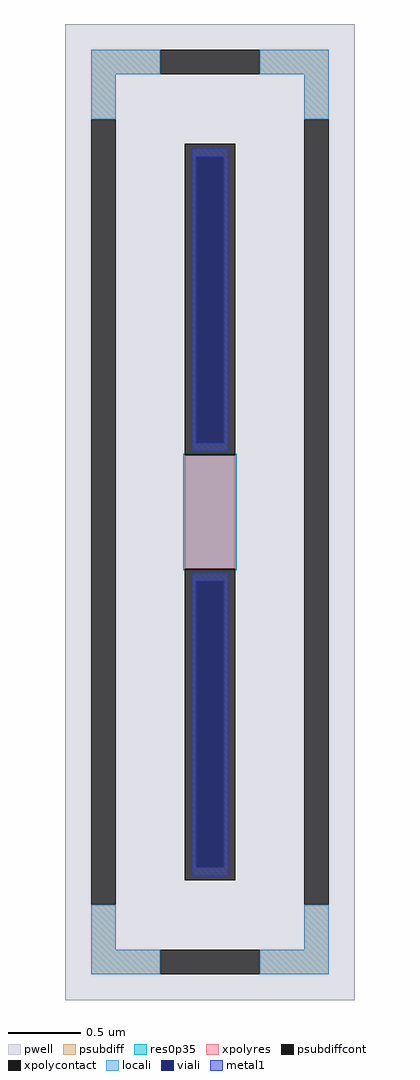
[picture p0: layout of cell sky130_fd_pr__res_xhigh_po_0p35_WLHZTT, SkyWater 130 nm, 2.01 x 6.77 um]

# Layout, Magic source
magic
tech sky130A
magscale 1 2
<< pwell >>
rect -201 -677 201 677
<< psubdiff >>
rect -165 607 -69 641
rect 69 607 165 641
rect -165 545 -131 607
rect 131 545 165 607
rect -165 -607 -131 -545
rect 131 -607 165 -545
rect -165 -641 -69 -607
rect 69 -641 165 -607
<< psubdiffcont >>
rect -69 607 69 641
rect -165 -545 -131 545
rect 131 -545 165 545
rect -69 -641 69 -607
<< xpolycontact >>
rect -35 79 35 511
rect -35 -511 35 -79
<< xpolyres >>
rect -35 -79 35 79
<< locali >>
rect -165 607 -69 641
rect 69 607 165 641
rect -165 545 -131 607
rect 131 545 165 607
rect -165 -607 -131 -545
rect 131 -607 165 -545
rect -165 -641 -69 -607
rect 69 -641 165 -607
<< viali >>
rect -19 96 19 493
rect -19 -493 19 -96
<< metal1 >>
rect -25 493 25 505
rect -25 96 -19 493
rect 19 96 25 493
rect -25 84 25 96
rect -25 -96 25 -84
rect -25 -493 -19 -96
rect 19 -493 25 -96
rect -25 -505 25 -493
<< res0p35 >>
rect -37 -81 37 81
<< properties >>
string gencell sky130_fd_pr__res_xhigh_po_0p35
string FIXED_BBOX -148 -624 148 624
string parameters w 0.350 l 0.79 m 1 nx 1 wmin 0.350 lmin 0.50 rho 2000 val 5.2k dummy 0 dw 0.0 term 120 sterm 0.0 caplen 0 wmax 0.350 guard 1 glc 1 grc 1 gtc 1 gbc 1 compatible {sky130_fd_pr__res_xhigh_po_0p35  sky130_fd_pr__res_xhigh_po_0p69 sky130_fd_pr__res_xhigh_po_1p41  sky130_fd_pr__res_xhigh_po_2p85 sky130_fd_pr__res_xhigh_po_5p73} full_metal 1 vias 1 viagb 0 viagt 0 viagl 0 viagr 0
string library sky130
<< end >>
